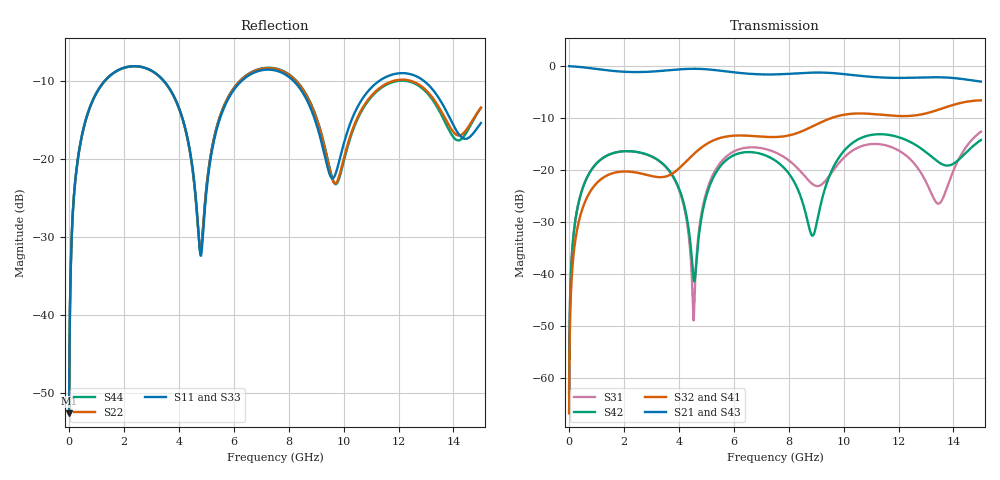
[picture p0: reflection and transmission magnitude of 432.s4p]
! Created with skrf 1.8.0 (http://scikit-rf.org).
# GHz S RI R 50.0
!freq ReS11 ImS11 ReS12 ImS12 ReS13 ImS13
! ReS14 ImS14
! ReS21 ImS21 ReS22 ImS22 ReS23 ImS23
! ReS24 ImS24
! ReS31 ImS31 ReS32 ImS32 ReS33 ImS33
! ReS34 ImS34
! ReS41 ImS41 ReS42 ImS42 ReS43 ImS43
! ReS44 ImS44
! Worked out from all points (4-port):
!   2499 points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, 5 MHz to 15 GHz, reference 50 ohm
!   strongest paths, dB at 5 MHz, 3.476 GHz, 7.19 GHz, 11.1 GHz, 15 GHz:
!     S21: 0.0, -0.9, -1.6, -2.1, -3.0
!     S43: 0.0, -0.9, -1.6, -2.1, -3.0
!     S32: -66.7, -21.3, -13.6, -9.2, -6.6
!     S41: -66.7, -21.3, -13.6, -9.3, -6.6
!     S42: -62.9, -19.1, -17.2, -13.2, -14.2
!     S31: -62.9, -19.1, -16.0, -15.0, -12.6
!   lowest |S11| = -52.6 dB at 5 MHz (marker M1), VSWR 1.00, Z = 50.2 + j0.143 ohm
!   |S11| at or under -10 dB: 3.463 GHz to 6.277 GHz (2.814 GHz wide, 57.8 % of centre); 8.187 GHz to 11.28 GHz (3.098 GHz wide, 31.8 % of centre); 12.94 GHz to end of sweep (the widest 3 of 4)
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0.005  0.00187 0.00142  0.9981 -0.00364  9.36e-05 0.000714  -9.11e-05 -0.000452
       0.9981 -0.00364  0.00187 0.00142  -9.11e-05 -0.000452  9.36e-05 0.000714
       9.36e-05 0.000714  -9.11e-05 -0.000452  0.00187 0.00142  0.9981 -0.00364
       -9.11e-05 -0.000452  9.36e-05 0.000714  0.9981 -0.00364  0.00187 0.00142
0.3626511  0.0377 0.105  0.9478 -0.2583  0.0176 0.0472  -0.0146 -0.029
           0.9478 -0.2583  0.0377 0.105  -0.0146 -0.029  0.0176 0.0472
           0.0176 0.0472  -0.0146 -0.029  0.0377 0.105  0.9478 -0.2583
           -0.0146 -0.029  0.0176 0.0472  0.9478 -0.2583  0.0377 0.105
1.725719  0.3419 0.1326  0.3677 -0.8135  0.145 0.0318  -0.0925 0.0231
          0.3677 -0.8135  0.3418 0.1326  -0.0926 0.0232  0.1453 0.031
          0.145 0.0318  -0.0926 0.0232  0.3418 0.1326  0.3677 -0.8135
          -0.0925 0.0231  0.1453 0.031  0.3677 -0.8135  0.3418 0.1326
4.539391  0.0355 -0.0688  -0.9129 -0.2314  0.0036 -2.6e-05  -0.0311 0.139
          -0.9129 -0.2314  0.0366 -0.0667  -0.0299 0.1393  -0.00853 -0.00287
          0.0036 -2.6e-05  -0.0299 0.1393  0.0356 -0.068  -0.913 -0.2313
          -0.0311 0.139  -0.00853 -0.00287  -0.913 -0.2313  0.0361 -0.066
5.689871  0.1485 0.1658  -0.7662 0.4558  0.1165 0.0627  0.1331 0.1615
          -0.7662 0.4558  0.1542 0.1679  0.1346 0.1606  0.0979 0.0736
          0.1165 0.0627  0.1346 0.1606  0.149 0.1666  -0.7659 0.4557
          0.1331 0.1615  0.0979 0.0736  -0.7659 0.4557  0.1549 0.169
9.679033  0.0771 0.0139  0.8487 0.0914  -0.0293 0.0999  0.03 -0.3233
          0.8487 0.0914  0.0694 -0.00976  0.0247 -0.3237  0.0281 0.1099
          -0.0293 0.0999  0.0247 -0.3237  0.0794 0.00886  0.8484 0.0942
          0.03 -0.3233  0.0281 0.1099  0.8484 0.0942  0.0682 -0.014
15  0.1675 0.0313  -0.7051 0.0832  0.1347 0.1917  0.0941 0.4597
    -0.7051 0.0832  0.2028 0.0686  0.1052 0.4568  0.0629 0.1843
    0.1347 0.1917  0.1052 0.4568  0.1718 0.0336  -0.7049 0.0821
    0.0941 0.4597  0.0629 0.1843  -0.7049 0.0821  0.1983 0.0785
